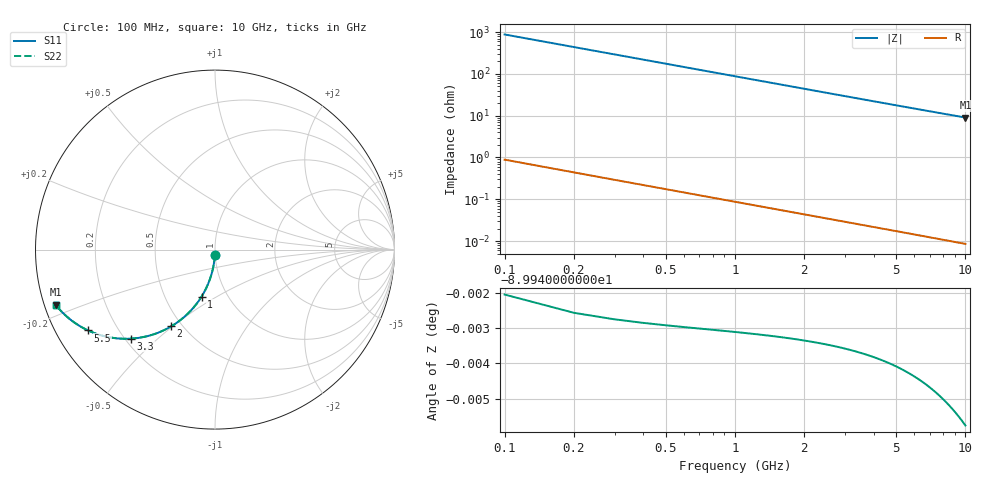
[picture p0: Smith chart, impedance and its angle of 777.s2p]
# Hz S RI R 50.00
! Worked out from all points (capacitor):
!   100 points, 100 MHz to 10 GHz, reference 50 ohm
!   read as one part in shunt: C = 1.81 pF near 100 MHz
!   lowest |Z| = 9.04 ohm at 10 GHz (marker M1)
!   S11 on the Smith chart (normalised r, x): 100 MHz: 1.00, -0.06; 1 GHz: 0.76, -0.43; 2 GHz: 0.44, -0.49; 3.3 GHz: 0.22, -0.41; 5.5 GHz: 0.10, -0.29; 10 GHz: 0.03, -0.17
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1e8  -0.000823 -0.0284  0.9991 -0.0285  0.9991 -0.0285  -0.000823 -0.0284
2e8  -0.00327 -0.0566  0.9967 -0.0569  0.9967 -0.0569  -0.00327 -0.0566
3e8  -0.00731 -0.0846  0.9927 -0.085  0.9927 -0.085  -0.00731 -0.0846
4e8  -0.0129 -0.1121  0.9871 -0.1127  0.9871 -0.1127  -0.0129 -0.1121
5e8  -0.02 -0.1391  0.98 -0.1398  0.98 -0.1398  -0.02 -0.1391
6e8  -0.0285 -0.1654  0.9715 -0.1663  0.9715 -0.1663  -0.0285 -0.1654
7e8  -0.0383 -0.191  0.9616 -0.192  0.9616 -0.192  -0.0383 -0.191
8e8  -0.0494 -0.2158  0.9505 -0.2169  0.9505 -0.2169  -0.0494 -0.2158
1e9  -0.0751 -0.2623  0.9249 -0.2638  0.9249 -0.2638  -0.0751 -0.2623
1.2e9  -0.1046 -0.3046  0.8954 -0.3064  0.8954 -0.3064  -0.1046 -0.3046
1.4e9  -0.137 -0.3424  0.8629 -0.3444  0.8629 -0.3444  -0.137 -0.3424
1.8e9  -0.2076 -0.4038  0.7923 -0.4064  0.7923 -0.4064  -0.2076 -0.4038
2e9  -0.2443 -0.4277  0.7557 -0.4306  0.7557 -0.4306  -0.2443 -0.4277
2.6e9  -0.3528 -0.4754  0.6472 -0.4792  0.6472 -0.4792  -0.3528 -0.4754
3.3e9  -0.4669 -0.496  0.533 -0.5008  0.533 -0.5008  -0.4669 -0.496
3.4e9  -0.4817 -0.4967  0.5182 -0.5017  0.5182 -0.5017  -0.4817 -0.4967
4.2e9  -0.5859 -0.489  0.4141 -0.4952  0.4141 -0.4952  -0.5859 -0.489
5.1e9  -0.6755 -0.4639  0.3245 -0.4715  0.3245 -0.4715  -0.6755 -0.4639
5.5e9  -0.7075 -0.4503  0.2925 -0.4585  0.2925 -0.4585  -0.7075 -0.4503
6.7e9  -0.7817 -0.4075  0.2182 -0.4176  0.2182 -0.4176  -0.7817 -0.4075
8.4e9  -0.8489 -0.3512  0.151 -0.3639  0.151 -0.3639  -0.8489 -0.3512
1e10  -0.8884 -0.3066  0.1114 -0.3219  0.1114 -0.3219  -0.8884 -0.3066
